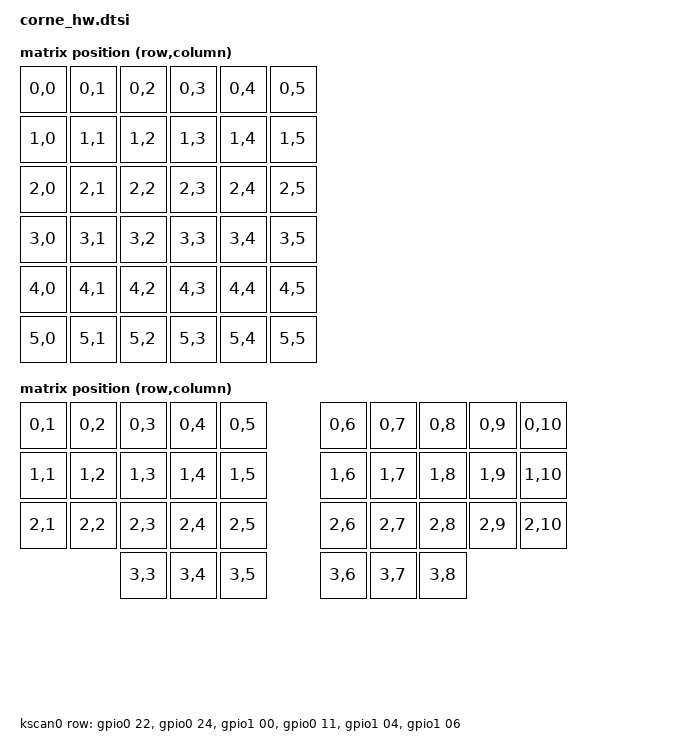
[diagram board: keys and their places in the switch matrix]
/*
 * Copyright (c) 2020 The ZMK Contributors
 *
 * SPDX-License-Identifier: MIT
 */

#include <dt-bindings/zmk/matrix_transform.h>
#include <dt-bindings/pinctrl/nrf-pinctrl.h>
#include <dt-bindings/i2c/i2c.h>

/ {
    chosen {
        zmk,kscan = &kscan0;
    };

    default_transform: keymap_transform_0 {
        compatible = "zmk,matrix-transform";
        columns = <6>;  // 原本是 12，改成 6
        rows = <6>;     // 原本是 4，改成 6
        map = <
            RC(0,0) RC(0,1) RC(0,2) RC(0,3) RC(0,4) RC(0,5)
            RC(1,0) RC(1,1) RC(1,2) RC(1,3) RC(1,4) RC(1,5)
            RC(2,0) RC(2,1) RC(2,2) RC(2,3) RC(2,4) RC(2,5)
            RC(3,0) RC(3,1) RC(3,2) RC(3,3) RC(3,4) RC(3,5)
            RC(4,0) RC(4,1) RC(4,2) RC(4,3) RC(4,4) RC(4,5)
            RC(5,0) RC(5,1) RC(5,2) RC(5,3) RC(5,4) RC(5,5)
        >;
    };

    five_column_transform: keymap_transform_1 {
        compatible = "zmk,matrix-transform";
        columns = <10>;
        rows = <4>;
        map = <
RC(0,1) RC(0,2) RC(0,3) RC(0,4) RC(0,5)  RC(0,6) RC(0,7) RC(0,8) RC(0,9) RC(0,10)
RC(1,1) RC(1,2) RC(1,3) RC(1,4) RC(1,5)  RC(1,6) RC(1,7) RC(1,8) RC(1,9) RC(1,10)
RC(2,1) RC(2,2) RC(2,3) RC(2,4) RC(2,5)  RC(2,6) RC(2,7) RC(2,8) RC(2,9) RC(2,10)
                        RC(3,3) RC(3,4) RC(3,5)  RC(3,6) RC(3,7) RC(3,8)
        >;
    };

    kscan0: kscan {
        compatible = "zmk,kscan-gpio-matrix";
        wakeup-source;
        diode-direction = "row2col";
        
        // Placeholder row definitions - will be overridden in overlay files
        row-gpios
            = <&gpio0 22 GPIO_ACTIVE_HIGH> // 你的 Row 0
            , <&gpio0 24 GPIO_ACTIVE_HIGH> // 你的 Row 1
            , <&gpio1 00 GPIO_ACTIVE_HIGH> // 你的 Row 2
            , <&gpio0 11 GPIO_ACTIVE_HIGH> // 你的 Row 3
            , <&gpio1 04 GPIO_ACTIVE_HIGH> // 你的 Row 4
            , <&gpio1 06 GPIO_ACTIVE_HIGH> // 你的 Row 5
            ;
    };
};

// I2C configuration moved to individual overlay files
// Each side needs its own OLED configuration
